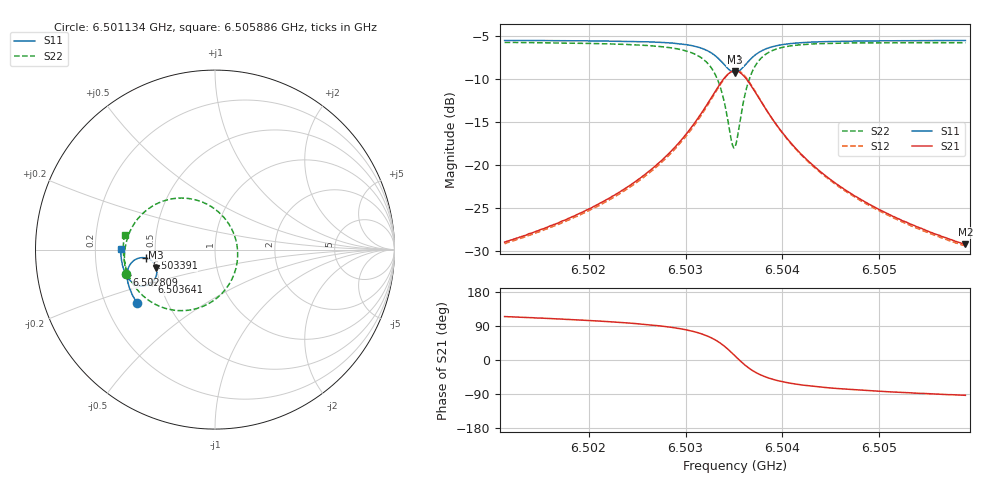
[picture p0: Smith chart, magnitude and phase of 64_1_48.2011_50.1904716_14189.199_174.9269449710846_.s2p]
#  HZ  S  RI  R  50.00
! Rohde & Schwarz Vector Network Analyzer
! Rohde-Schwarz,ZNB20-2Port,1311601062101988,3.16
! Created: UTC 3/20/2024, 11:38:53 AM
! freq[Hz]  re:S11  im:S11  re:S21  im:S21  re:S12  im:S12  re:S22  im:S22
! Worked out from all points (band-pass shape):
!   401 points, 6.501134 GHz to 6.505886 GHz, reference 50 ohm
!   highest |S21| = -9.11 dB at 6.50351 GHz (marker M1); lowest = -29.3 dB at 6.505886 GHz (marker M2)
!   |S21| within 3 dB of the highest: 6.503272 GHz to 6.503748 GHz (476.2 kHz wide, 0.00732 % of centre)
!   lowest |S11| = -9.3 dB at 6.50351 GHz (marker M3), VSWR 2.04, Z = 24.9 - j5.7 ohm
!   |S11| at or under -10 dB: nowhere
!   |S22| runs from -18.1 to -5.8 dB; largest |S21 - S12| = 0.012
!   S11 on the Smith chart (normalised r, x): 6.501134 GHz: 0.34, -0.28; 6.502809 GHz: 0.33, -0.13; 6.503391 GHz: 0.44, -0.05; 6.503641 GHz: 0.46, -0.20; 6.505886 GHz: 0.31, +0.00
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6.5011345e9  -0.4344 -0.2971  -0.0148 0.0323  -0.013 0.0322  -0.4945 -0.1362
6.5019304e9  -0.4675 -0.2366  -0.0138 0.0509  -0.0114 0.0504  -0.5045 -0.0482
6.5023817e9  -0.4826 -0.1951  -0.0103 0.0722  -0.00726 0.0709  -0.4989 0.0199
6.5027262e9  -0.4898 -0.1551  -0.000488 0.1025  0.00309 0.0999  -0.4769 0.094
6.5028094e9  -0.4901 -0.1433  0.00445 0.1132  0.00823 0.1102  -0.4659 0.1173
6.5030113e9  -0.4852 -0.1094  0.0279 0.1489  0.0317 0.1443  -0.4167 0.187
6.5031538e9  -0.4702 -0.0792  0.067 0.1834  0.0697 0.1773  -0.341 0.2466
6.5032964e9  -0.4308 -0.0495  0.1519 0.2124  0.1523 0.206  -0.1863 0.2873
6.5033914e9  -0.3826 -0.0473  0.2463 0.1944  0.2461 0.1899  -0.0226 0.2407
6.5034746e9  -0.3385 -0.0781  0.3266 0.1166  0.3291 0.1124  0.1055 0.0869
6.5035102e9  -0.3274 -0.1011  0.3442 0.066  0.3482 0.0606  0.1261 -0.00843
6.503534e9  -0.3244 -0.118  0.3475 0.0303  0.3516 0.0235  0.1229 -0.074
6.5035696e9  -0.3267 -0.1429  0.3394 -0.0213  0.3433 -0.0306  0.0938 -0.1662
6.5036409e9  -0.3499 -0.1813  0.2907 -0.0998  0.2907 -0.1117  -0.0214 -0.2927
6.5037359e9  -0.3919 -0.2016  0.2097 -0.1441  0.2046 -0.1546  -0.1867 -0.3401
6.5038072e9  -0.4187 -0.2017  0.1607 -0.1492  0.1536 -0.1574  -0.2786 -0.3268
6.5038903e9  -0.4423 -0.1943  0.1189 -0.143  0.1114 -0.1486  -0.3519 -0.294
6.5040566e9  -0.4723 -0.1733  0.0695 -0.1213  0.0628 -0.1237  -0.4319 -0.2248
6.5043061e9  -0.4951 -0.142  0.0356 -0.0936  0.0305 -0.094  -0.4809 -0.1451
6.5046743e9  -0.5113 -0.1023  0.0154 -0.0681  0.0119 -0.0676  -0.5045 -0.0666
6.5051019e9  -0.5204 -0.0619  0.00552 -0.051  0.00304 -0.0503  -0.5108 -0.00258
6.5058859e9  -0.5261 0.00539  -0.0019 -0.0344  -0.00333 -0.0334  -0.5038 0.0838
